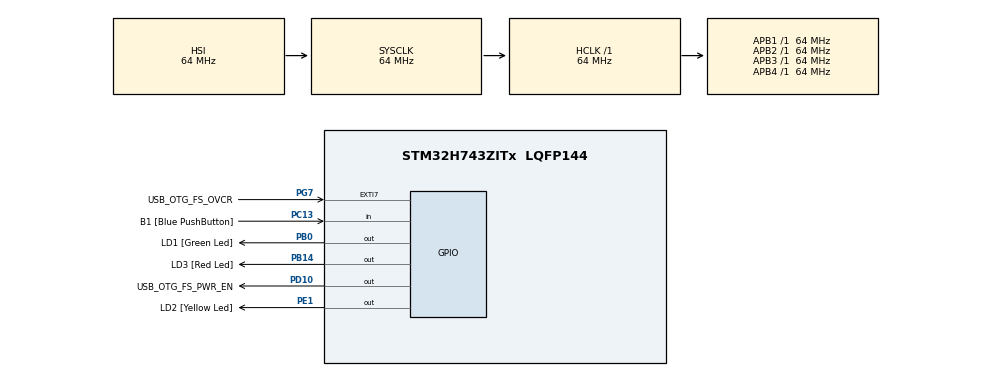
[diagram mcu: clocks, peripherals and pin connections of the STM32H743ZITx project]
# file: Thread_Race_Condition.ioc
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Mcu.Family=STM32H7
Mcu.Name=STM32H743ZITx
Mcu.Package=LQFP144
NVIC.PriorityGroup=NVIC_PRIORITYGROUP_4
PA1.Signal=ETH_REF_CLK
PA11.Signal=USB_OTG_FS_DM
PA12.Signal=USB_OTG_FS_DP
PA13\ (JTMS/SWDIO).GPIO_Label=JTMS
PA13\ (JTMS/SWDIO).Signal=DEBUG_JTMS-SWDIO
PA14\ (JTCK/SWCLK).GPIO_Label=JTCK
PA14\ (JTCK/SWCLK).Signal=DEBUG_JTCK-SWCLK
PA2.Signal=ETH_MDIO
PA7.Signal=ETH_CRS_DV
PA8.Signal=USB_OTG_FS_SOF
PA9.Signal=USB_OTG_FS_VBUS
PB0.GPIO_Label=LD1 [Green Led]
PB0.Signal=GPIO_Output
PB13.Signal=ETH_TXD1
PB14.GPIO_Label=LD3 [Red Led]
PB14.Signal=GPIO_Output
PC1.Signal=ETH_MDC
PC13.GPIO_Label=B1 [Blue PushButton]
PC13.Signal=GPIO_Input
PC14-OSC32_IN\ (OSC32_IN).Signal=RCC_OSC32_IN
PC15-OSC32_OUT\ (OSC32_OUT).Signal=RCC_OSC32_OUT
PC4.Signal=ETH_RXD0
PC5.Signal=ETH_RXD1
PD10.GPIO_Label=USB_OTG_FS_PWR_EN
PD10.Signal=GPIO_Output
PD8.GPIO_Label=STLINK_RX
PD8.Signal=USART3_TX
PD9.GPIO_Label=STLINK_TX
PD9.Signal=USART3_RX
PE1.GPIO_Label=LD2 [Yellow Led]
PE1.Signal=GPIO_Output
PG11.Signal=ETH_TX_EN
PG13.Signal=ETH_TXD0
PG7.GPIO_Label=USB_OTG_FS_OVCR
PG7.Signal=GPXTI7
PH0-OSC_IN\ (PH0).Signal=RCC_OSC_IN
PH1-OSC_OUT\ (PH1).Signal=RCC_OSC_OUT
ProjectManager.HeapSize=0x200
ProjectManager.StackSize=0x400
ProjectManager.TargetToolchain=STM32CubeIDE
RCC.ADCFreq_Value=129000000
RCC.APB1Freq_Value=64000000
RCC.APB2Freq_Value=64000000
RCC.APB3Freq_Value=64000000
RCC.APB4Freq_Value=64000000
RCC.CortexFreq_Value=64000000
RCC.HCLKFreq_Value=64000000
RCC.SYSCLKFreq_VALUE=64000000
RCC.USBFreq_Value=129000000
VP_MEMORYMAP_VS_MEMORYMAP.Mode=CurAppReg
board=NUCLEO-H743ZI2

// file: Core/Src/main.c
/* USER CODE BEGIN Header */
/**
  ******************************************************************************
  * @file           : main.c
  * @brief          : Main program body
  ******************************************************************************
  * @attention
  *
  * Copyright (c) 2024 STMicroelectronics.
  * All rights reserved.
  *
  * This software is licensed under terms that can be found in the LICENSE file
  * in the root directory of this software component.
  * If no LICENSE file comes with this software, it is provided AS-IS.
  *
  ******************************************************************************
  */
/* USER CODE END Header */
#include "main.h"

/* USER CODE BEGIN Includes */
#include<stdio.h>
#include "FreeRTOS.h"
#include "task.h"
#include "semphr.h"
/* USER CODE END Includes */

/* USER CODE BEGIN PD */
static void increment1_handler(void* params);
static void increment2_handler(void* params);
/* USER CODE END PD */

/* USER CODE BEGIN PM */
#define RESOLVE_RACE_COND	0
/* USER CODE END PM */

/* USER CODE BEGIN PV */
#if RESOLVE_RACE_COND
	SemaphoreHandle_t xMutex;
#endif
int sharedVar = 0;
/* USER CODE END PV */

void SystemClock_Config(void);
static void MX_GPIO_Init(void);

int main(void)
{

  /* USER CODE BEGIN 1 */
	BaseType_t status;

#if RESOLVE_RACE_COND
	xMutex = xSemaphoreCreateMutex();
#endif

	status = xTaskCreate(increment1_handler, "Thread-1", 200,NULL, 2,NULL);
	configASSERT(status == pdPASS);

	status = xTaskCreate(increment2_handler, "Thread-2", 200,NULL, 2,NULL);
	configASSERT(status == pdPASS);

	vTaskStartScheduler();
  /* USER CODE END 1 */

  /* MCU Configuration--------------------------------------------------------*/

  /* Reset of all peripherals, Initializes the Flash interface and the Systick. */
  HAL_Init();

  /* Configure the system clock */
  SystemClock_Config();

  /* Initialize all configured peripherals */
  MX_GPIO_Init();

  /* Infinite loop */
  while (1)
  {

  }
}

void SystemClock_Config(void)
{
  RCC_OscInitTypeDef RCC_OscInitStruct = {0};
  RCC_ClkInitTypeDef RCC_ClkInitStruct = {0};

  /** Supply configuration update enable
  */
  HAL_PWREx_ConfigSupply(PWR_LDO_SUPPLY);

  /** Configure the main internal regulator output voltage
  */
  __HAL_PWR_VOLTAGESCALING_CONFIG(PWR_REGULATOR_VOLTAGE_SCALE3);

  while(!__HAL_PWR_GET_FLAG(PWR_FLAG_VOSRDY)) {}

  /** Initializes the RCC Oscillators according to the specified parameters
  * in the RCC_OscInitTypeDef structure.
  */
  RCC_OscInitStruct.OscillatorType = RCC_OSCILLATORTYPE_HSI;
  RCC_OscInitStruct.HSIState = RCC_HSI_DIV1;
  RCC_OscInitStruct.HSICalibrationValue = RCC_HSICALIBRATION_DEFAULT;
  RCC_OscInitStruct.PLL.PLLState = RCC_PLL_NONE;
  if (HAL_RCC_OscConfig(&RCC_OscInitStruct) != HAL_OK)
  {
    Error_Handler();
  }

  /** Initializes the CPU, AHB and APB buses clocks
  */
  RCC_ClkInitStruct.ClockType = RCC_CLOCKTYPE_HCLK|RCC_CLOCKTYPE_SYSCLK
                              |RCC_CLOCKTYPE_PCLK1|RCC_CLOCKTYPE_PCLK2
                              |RCC_CLOCKTYPE_D3PCLK1|RCC_CLOCKTYPE_D1PCLK1;
  RCC_ClkInitStruct.SYSCLKSource = RCC_SYSCLKSOURCE_HSI;
  RCC_ClkInitStruct.SYSCLKDivider = RCC_SYSCLK_DIV1;
  RCC_ClkInitStruct.AHBCLKDivider = RCC_HCLK_DIV1;
  RCC_ClkInitStruct.APB3CLKDivider = RCC_APB3_DIV1;
  RCC_ClkInitStruct.APB1CLKDivider = RCC_APB1_DIV1;
  RCC_ClkInitStruct.APB2CLKDivider = RCC_APB2_DIV1;
  RCC_ClkInitStruct.APB4CLKDivider = RCC_APB4_DIV1;

  if (HAL_RCC_ClockConfig(&RCC_ClkInitStruct, FLASH_LATENCY_1) != HAL_OK)
  {
    Error_Handler();
  }
}

static void MX_GPIO_Init(void)
{
  GPIO_InitTypeDef GPIO_InitStruct = {0};

  /* GPIO Ports Clock Enable */
  __HAL_RCC_GPIOC_CLK_ENABLE();
  __HAL_RCC_GPIOH_CLK_ENABLE();
  __HAL_RCC_GPIOA_CLK_ENABLE();
  __HAL_RCC_GPIOB_CLK_ENABLE();
  __HAL_RCC_GPIOD_CLK_ENABLE();
  __HAL_RCC_GPIOG_CLK_ENABLE();
  __HAL_RCC_GPIOE_CLK_ENABLE();

  /*Configure GPIO pin Output Level */
  HAL_GPIO_WritePin(GPIOB, LD1_Pin|LD3_Pin, GPIO_PIN_RESET);

  /*Configure GPIO pin Output Level */
  HAL_GPIO_WritePin(USB_OTG_FS_PWR_EN_GPIO_Port, USB_OTG_FS_PWR_EN_Pin, GPIO_PIN_RESET);

  /*Configure GPIO pin Output Level */
  HAL_GPIO_WritePin(LD2_GPIO_Port, LD2_Pin, GPIO_PIN_RESET);

  /*Configure GPIO pin : B1_Pin */
  GPIO_InitStruct.Pin = B1_Pin;
  GPIO_InitStruct.Mode = GPIO_MODE_INPUT;
  GPIO_InitStruct.Pull = GPIO_NOPULL;
  HAL_GPIO_Init(B1_GPIO_Port, &GPIO_InitStruct);

  /*Configure GPIO pins : PC1 PC4 PC5 */
  GPIO_InitStruct.Pin = GPIO_PIN_1|GPIO_PIN_4|GPIO_PIN_5;
  GPIO_InitStruct.Mode = GPIO_MODE_AF_PP;
  GPIO_InitStruct.Pull = GPIO_NOPULL;
  GPIO_InitStruct.Speed = GPIO_SPEED_FREQ_LOW;
  GPIO_InitStruct.Alternate = GPIO_AF11_ETH;
  HAL_GPIO_Init(GPIOC, &GPIO_InitStruct);

  /*Configure GPIO pins : PA1 PA2 PA7 */
  GPIO_InitStruct.Pin = GPIO_PIN_1|GPIO_PIN_2|GPIO_PIN_7;
  GPIO_InitStruct.Mode = GPIO_MODE_AF_PP;
  GPIO_InitStruct.Pull = GPIO_NOPULL;
  GPIO_InitStruct.Speed = GPIO_SPEED_FREQ_LOW;
  GPIO_InitStruct.Alternate = GPIO_AF11_ETH;
  HAL_GPIO_Init(GPIOA, &GPIO_InitStruct);

  /*Configure GPIO pins : LD1_Pin LD3_Pin */
  GPIO_InitStruct.Pin = LD1_Pin|LD3_Pin;
  GPIO_InitStruct.Mode = GPIO_MODE_OUTPUT_PP;
  GPIO_InitStruct.Pull = GPIO_NOPULL;
  GPIO_InitStruct.Speed = GPIO_SPEED_FREQ_LOW;
  HAL_GPIO_Init(GPIOB, &GPIO_InitStruct);

  /*Configure GPIO pin : PB13 */
  GPIO_InitStruct.Pin = GPIO_PIN_13;
  GPIO_InitStruct.Mode = GPIO_MODE_AF_PP;
  GPIO_InitStruct.Pull = GPIO_NOPULL;
  GPIO_InitStruct.Speed = GPIO_SPEED_FREQ_LOW;
  GPIO_InitStruct.Alternate = GPIO_AF11_ETH;
  HAL_GPIO_Init(GPIOB, &GPIO_InitStruct);

  /*Configure GPIO pins : STLINK_RX_Pin STLINK_TX_Pin */
  GPIO_InitStruct.Pin = STLINK_RX_Pin|STLINK_TX_Pin;
  GPIO_InitStruct.Mode = GPIO_MODE_AF_PP;
  GPIO_InitStruct.Pull = GPIO_NOPULL;
  GPIO_InitStruct.Speed = GPIO_SPEED_FREQ_LOW;
  GPIO_InitStruct.Alternate = GPIO_AF7_USART3;
  HAL_GPIO_Init(GPIOD, &GPIO_InitStruct);

  /*Configure GPIO pin : USB_OTG_FS_PWR_EN_Pin */
  GPIO_InitStruct.Pin = USB_OTG_FS_PWR_EN_Pin;
  GPIO_InitStruct.Mode = GPIO_MODE_OUTPUT_PP;
  GPIO_InitStruct.Pull = GPIO_NOPULL;
  GPIO_InitStruct.Speed = GPIO_SPEED_FREQ_LOW;
  HAL_GPIO_Init(USB_OTG_FS_PWR_EN_GPIO_Port, &GPIO_InitStruct);

  /*Configure GPIO pin : USB_OTG_FS_OVCR_Pin */
  GPIO_InitStruct.Pin = USB_OTG_FS_OVCR_Pin;
  GPIO_InitStruct.Mode = GPIO_MODE_IT_RISING;
  GPIO_InitStruct.Pull = GPIO_NOPULL;
  HAL_GPIO_Init(USB_OTG_FS_OVCR_GPIO_Port, &GPIO_InitStruct);

  /*Configure GPIO pins : PA8 PA11 PA12 */
  GPIO_InitStruct.Pin = GPIO_PIN_8|GPIO_PIN_11|GPIO_PIN_12;
  GPIO_InitStruct.Mode = GPIO_MODE_AF_PP;
  GPIO_InitStruct.Pull = GPIO_NOPULL;
  GPIO_InitStruct.Speed = GPIO_SPEED_FREQ_LOW;
  GPIO_InitStruct.Alternate = GPIO_AF10_OTG1_FS;
  HAL_GPIO_Init(GPIOA, &GPIO_InitStruct);

  /*Configure GPIO pins : PG11 PG13 */
  GPIO_InitStruct.Pin = GPIO_PIN_11|GPIO_PIN_13;
  GPIO_InitStruct.Mode = GPIO_MODE_AF_PP;
  GPIO_InitStruct.Pull = GPIO_NOPULL;
  GPIO_InitStruct.Speed = GPIO_SPEED_FREQ_LOW;
  GPIO_InitStruct.Alternate = GPIO_AF11_ETH;
  HAL_GPIO_Init(GPIOG, &GPIO_InitStruct);

  /*Configure GPIO pin : LD2_Pin */
  GPIO_InitStruct.Pin = LD2_Pin;
  GPIO_InitStruct.Mode = GPIO_MODE_OUTPUT_PP;
  GPIO_InitStruct.Pull = GPIO_NOPULL;
  GPIO_InitStruct.Speed = GPIO_SPEED_FREQ_LOW;
  HAL_GPIO_Init(LD2_GPIO_Port, &GPIO_InitStruct);

}

/* USER CODE BEGIN 4 */
static void increment1_handler(void* params)
{
	while(1)
	{
#if RESOLVE_RACE_COND
        if(xSemaphoreTake(xMutex, ( TickType_t ) 10 ) == pdTRUE)
        {
            sharedVar++;
            printf("sharedVar: %d\n", sharedVar);
            xSemaphoreGive(xMutex);
        }
#else
        sharedVar++;
        printf("sharedVar: %d\n", sharedVar);
#endif
	}
}

static void increment2_handler(void* params)
{
	while(1)
	{
#if RESOLVE_RACE_COND
        if(xSemaphoreTake(xMutex, ( TickType_t ) 10 ) == pdTRUE)
        {
            sharedVar++;
            printf("sharedVar: %d\n", sharedVar);
            xSemaphoreGive(xMutex);
        }
#else
        sharedVar++;
        printf("sharedVar: %d\n", sharedVar);
#endif
	}
}
/* USER CODE END 4 */

void Error_Handler(void)
{
  __disable_irq();
  while (1)
  {
  }
}
